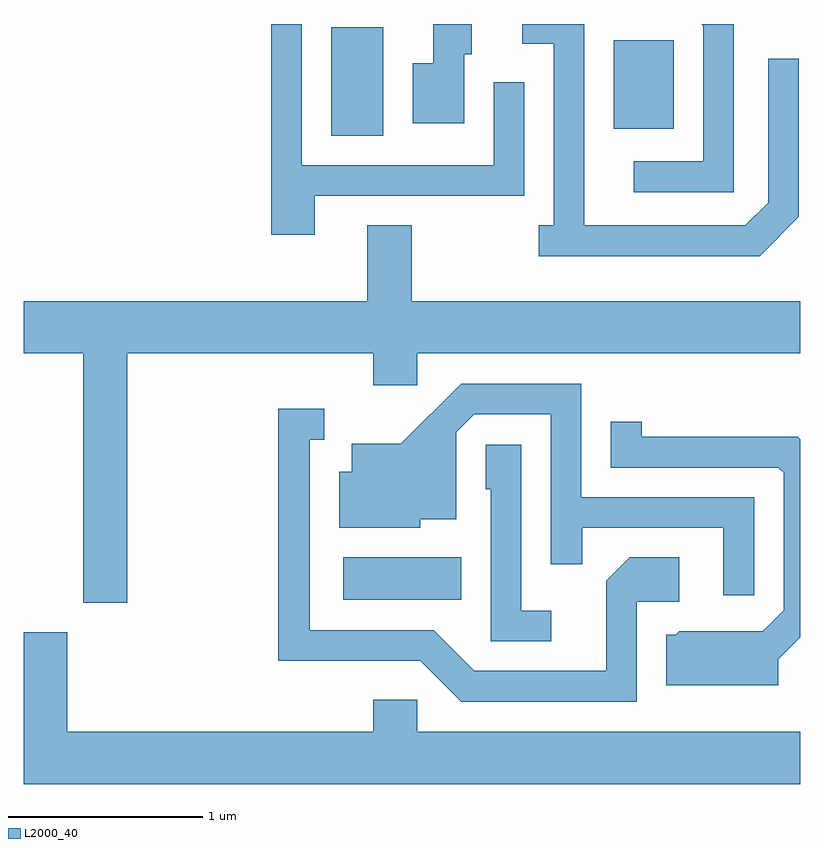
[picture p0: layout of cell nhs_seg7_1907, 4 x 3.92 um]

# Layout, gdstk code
import gdstk
lib = gdstk.Library(unit=1e-6, precision=1e-09)
def R(c, l, rs):  # rectangles x0, y0, x1, y1
    for r in rs: c.add(gdstk.rectangle(r[:2], r[2:], *l))
def P(c, l, *ps):  # polygons
    for p in ps: c.add(gdstk.Polygon(p, *l))
L2000_40 = (2000, 40)

nhs_seg7_1907 = lib.new_cell('nhs_seg7_1907')
R(nhs_seg7_1907, L2000_40, [(245.256,1695.286,245.864,1695.504), (245.196,1697.676,245.464,1698.234), (246.651,1697.711,246.959,1698.169)])
P(nhs_seg7_1907, L2000_40, [(247.604,1697.259),(247.604,1698.073),(247.446,1698.073),(247.446,1697.332),(247.329,1697.214),(246.499,1697.214),(246.499,1698.252),(246.178,1698.252),(246.178,1698.151),(246.341,1698.151),(246.341,1697.214),(246.263,1697.214),(246.263,1697.056),(247.402,1697.056)],
  [(245.879,1698.096),(245.919,1698.096),(245.919,1698.252),(245.721,1698.252),(245.721,1698.049),(245.616,1698.049),(245.616,1697.741),(245.879,1697.741)],
  [(247.269,1698.252),(247.103,1698.252),(247.111,1698.244),(247.111,1697.544),(246.753,1697.544),(246.753,1697.386),(247.269,1697.386)],
  [(245.109,1697.366),(246.189,1697.366),(246.189,1697.953),(246.031,1697.953),(246.031,1697.524),(245.044,1697.524),(245.044,1698.252),(244.886,1698.252),(244.886,1697.166),(245.109,1697.166)],
  [(244.144,1696.556),(245.411,1696.556),(245.411,1696.391),(245.639,1696.391),(245.639,1696.556),(247.611,1696.556),(247.611,1696.824),(245.609,1696.824),(245.609,1697.214),(245.381,1697.214),(245.381,1696.824),(243.611,1696.824),(243.611,1696.556),(243.916,1696.556),(243.916,1695.271),(244.144,1695.271)],
  [(247.374,1695.814),(246.484,1695.814),(246.484,1696.399),(245.864,1696.399),(245.554,1696.089),(245.301,1696.089),(245.301,1695.944),(245.236,1695.944),(245.236,1695.656),(245.654,1695.656),(245.654,1695.701),(245.839,1695.701),(245.839,1696.149),(245.932,1696.241),(246.326,1696.241),(246.326,1695.468),(246.489,1695.468),(246.489,1695.656),(247.216,1695.656),(247.216,1695.308),(247.374,1695.308)],
  [(246.769,1695.276),(246.989,1695.276),(246.989,1695.504),(246.734,1695.504),(246.611,1695.382),(246.611,1694.919),(245.932,1694.919),(245.722,1695.129),(245.084,1695.129),(245.084,1696.111),(245.158,1696.111),(245.158,1696.269),(244.921,1696.269),(244.921,1694.971),(245.654,1694.971),(245.864,1694.761),(246.769,1694.761)],
  [(247.499,1694.979),(247.611,1695.091),(247.611,1696.112),(247.599,1696.124),(246.794,1696.124),(246.794,1696.203),(246.636,1696.203),(246.636,1695.966),(247.499,1695.966),(247.526,1695.939),(247.526,1695.232),(247.419,1695.124),(246.989,1695.124),(246.969,1695.104),(246.921,1695.104),(246.921,1694.846),(247.499,1694.846)],
  [(246.328,1695.229),(246.174,1695.229),(246.174,1696.084),(245.991,1696.084),(245.991,1695.856),(246.016,1695.856),(246.016,1695.071),(246.328,1695.071)],
  [(247.611,1694.604),(245.639,1694.604),(245.639,1694.769),(245.411,1694.769),(245.411,1694.604),(243.834,1694.604),(243.834,1695.119),(243.611,1695.119),(243.611,1694.336),(247.611,1694.336)])

lib.write_gds('nhs_seg7_1907.gds')
